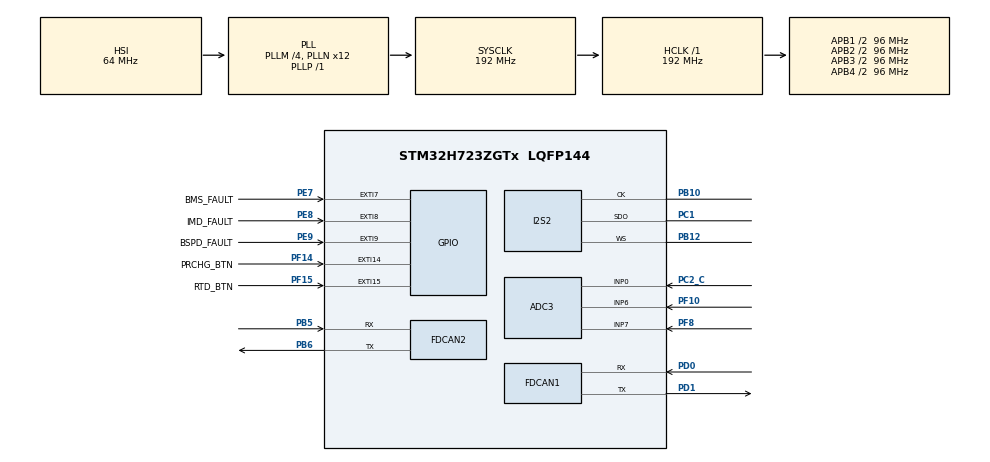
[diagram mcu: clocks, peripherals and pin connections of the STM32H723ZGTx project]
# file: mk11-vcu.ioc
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ADC3.Channel-0\#ChannelRegularConversion=ADC_CHANNEL_0
ADC3.Channel-1\#ChannelRegularConversion=ADC_CHANNEL_6
ADC3.Channel-2\#ChannelRegularConversion=ADC_CHANNEL_7
ADC3.ClockPrescaler=ADC_CLOCK_ASYNC_DIV128
ADC3.ClockPrescalerADC3=ADC_CLOCK_ASYNC_DIV128
ADC3.ContinuousConvMode=ENABLE
ADC3.ConversionDataManagement=ADC_CONVERSIONDATA_DMA_CIRCULAR
ADC3.DMAContinuousRequests=ENABLE
ADC3.EOCSelection=ADC_EOC_SEQ_CONV
ADC3.NbrOfConversion=3
ADC3.NbrOfConversionFlag=1
ADC3.OffsetNumber-0\#ChannelRegularConversion=ADC_OFFSET_NONE
ADC3.OffsetNumber-1\#ChannelRegularConversion=ADC_OFFSET_NONE
ADC3.OffsetNumber-2\#ChannelRegularConversion=ADC_OFFSET_NONE
ADC3.OffsetSign-0\#ChannelRegularConversion=ADC3_OFFSET_SIGN_NEGATIVE
ADC3.OffsetSign-1\#ChannelRegularConversion=ADC3_OFFSET_SIGN_NEGATIVE
ADC3.OffsetSign-2\#ChannelRegularConversion=ADC3_OFFSET_SIGN_NEGATIVE
ADC3.Rank-0\#ChannelRegularConversion=1
ADC3.Rank-1\#ChannelRegularConversion=2
ADC3.Rank-2\#ChannelRegularConversion=3
ADC3.SamplingTime-0\#ChannelRegularConversion=ADC3_SAMPLETIME_92CYCLES_5
ADC3.SamplingTime-1\#ChannelRegularConversion=ADC3_SAMPLETIME_92CYCLES_5
ADC3.SamplingTime-2\#ChannelRegularConversion=ADC3_SAMPLETIME_92CYCLES_5
CORTEX_M7.default_mode_Activation=1
Dma.ADC3.0.Direction=DMA_PERIPH_TO_MEMORY
Dma.ADC3.0.EventEnable=DISABLE
Dma.ADC3.0.FIFOMode=DMA_FIFOMODE_DISABLE
Dma.ADC3.0.Instance=DMA1_Stream0
Dma.ADC3.0.MemDataAlignment=DMA_MDATAALIGN_HALFWORD
Dma.ADC3.0.MemInc=DMA_MINC_ENABLE
Dma.ADC3.0.Mode=DMA_CIRCULAR
Dma.ADC3.0.PeriphDataAlignment=DMA_PDATAALIGN_HALFWORD
Dma.ADC3.0.PeriphInc=DMA_PINC_DISABLE
Dma.ADC3.0.Polarity=HAL_DMAMUX_REQ_GEN_RISING
Dma.ADC3.0.Priority=DMA_PRIORITY_LOW
Dma.ADC3.0.RequestNumber=1
Dma.ADC3.0.SignalID=NONE
Dma.ADC3.0.SyncEnable=DISABLE
Dma.ADC3.0.SyncPolarity=HAL_DMAMUX_SYNC_NO_EVENT
Dma.ADC3.0.SyncRequestNumber=1
Dma.ADC3.0.SyncSignalID=NONE
Dma.Request0=ADC3
Dma.Request1=SPI2_TX
Dma.SPI2_TX.1.Direction=DMA_MEMORY_TO_PERIPH
Dma.SPI2_TX.1.EventEnable=DISABLE
Dma.SPI2_TX.1.FIFOMode=DMA_FIFOMODE_ENABLE
Dma.SPI2_TX.1.FIFOThreshold=DMA_FIFO_THRESHOLD_HALFFULL
Dma.SPI2_TX.1.Instance=DMA1_Stream1
Dma.SPI2_TX.1.MemBurst=DMA_MBURST_SINGLE
Dma.SPI2_TX.1.MemDataAlignment=DMA_MDATAALIGN_HALFWORD
Dma.SPI2_TX.1.MemInc=DMA_MINC_ENABLE
Dma.SPI2_TX.1.Mode=DMA_NORMAL
Dma.SPI2_TX.1.PeriphBurst=DMA_PBURST_SINGLE
Dma.SPI2_TX.1.PeriphDataAlignment=DMA_PDATAALIGN_HALFWORD
Dma.SPI2_TX.1.PeriphInc=DMA_PINC_DISABLE
Dma.SPI2_TX.1.Polarity=HAL_DMAMUX_REQ_GEN_RISING
Dma.SPI2_TX.1.Priority=DMA_PRIORITY_HIGH
Dma.SPI2_TX.1.RequestNumber=1
Dma.SPI2_TX.1.SignalID=NONE
Dma.SPI2_TX.1.SyncEnable=DISABLE
Dma.SPI2_TX.1.SyncPolarity=HAL_DMAMUX_SYNC_NO_EVENT
Dma.SPI2_TX.1.SyncRequestNumber=1
Dma.SPI2_TX.1.SyncSignalID=NONE
FDCAN1.AutoRetransmission=ENABLE
FDCAN1.CalculateBaudRateNominal=500000
FDCAN1.CalculateTimeBitNominal=2000
FDCAN1.CalculateTimeQuantumNominal=125.0
FDCAN1.DataPrescaler=12
FDCAN1.DataTimeSeg1=13
FDCAN1.DataTimeSeg2=2
FDCAN1.FrameFormat=FDCAN_FRAME_CLASSIC
FDCAN1.MessageRAMOffset=0
FDCAN1.Mode=FDCAN_MODE_NORMAL
FDCAN1.NominalPrescaler=12
FDCAN1.NominalSyncJumpWidth=2
FDCAN1.NominalTimeSeg1=13
FDCAN1.NominalTimeSeg2=2
FDCAN1.RxBuffersNbr=3
FDCAN1.RxFifo0ElmtSize=FDCAN_DATA_BYTES_8
FDCAN1.RxFifo0ElmtsNbr=3
FDCAN1.RxFifo1ElmtsNbr=3
FDCAN1.StdFiltersNbr=1
FDCAN1.TxBuffersNbr=3
FDCAN1.TxElmtSize=FDCAN_DATA_BYTES_8
FDCAN1.TxEventsNbr=3
FDCAN1.TxFifoQueueElmtsNbr=3
FDCAN2.AutoRetransmission=ENABLE
FDCAN2.CalculateBaudRateNominal=500000
FDCAN2.CalculateTimeBitNominal=2000
FDCAN2.CalculateTimeQuantumNominal=125.0
FDCAN2.DataPrescaler=12
FDCAN2.DataTimeSeg1=13
FDCAN2.DataTimeSeg2=2
FDCAN2.FrameFormat=FDCAN_FRAME_CLASSIC
FDCAN2.MessageRAMOffset=1280
FDCAN2.Mode=FDCAN_MODE_NORMAL
FDCAN2.NominalPrescaler=12
FDCAN2.NominalSyncJumpWidth=2
FDCAN2.NominalTimeSeg1=13
FDCAN2.NominalTimeSeg2=2
FDCAN2.RxBuffersNbr=3
FDCAN2.RxFifo0ElmtsNbr=3
FDCAN2.RxFifo1ElmtSize=FDCAN_DATA_BYTES_8
FDCAN2.RxFifo1ElmtsNbr=3
FDCAN2.StdFiltersNbr=1
FDCAN2.TxBuffersNbr=3
FDCAN2.TxElmtSize=FDCAN_DATA_BYTES_8
FDCAN2.TxEventsNbr=3
FDCAN2.TxFifoQueueElmtsNbr=3
I2S2.AudioFreq=I2S_AUDIOFREQ_44K
I2S2.ErrorAudioFreq=0.26 %
I2S2.Instance=SPI$Index
I2S2.RealAudioFreq=44.117 KHz
I2S2.Standard=I2S_STANDARD_PHILIPS
Mcu.Family=STM32H7
Mcu.Name=STM32H723ZGTx
Mcu.Package=LQFP144
NVIC.ADC3_IRQn=true\:5\:0\:true\:false\:true\:true\:true\:true
NVIC.DMA1_Stream0_IRQn=true\:5\:0\:true\:false\:true\:false\:true\:true
NVIC.DMA1_Stream1_IRQn=true\:0\:0\:true\:false\:true\:false\:true\:true
NVIC.EXTI15_10_IRQn=true\:1\:0\:true\:false\:true\:true\:true\:true
NVIC.EXTI9_5_IRQn=true\:1\:0\:true\:false\:true\:true\:true\:true
NVIC.FDCAN1_IT0_IRQn=true\:2\:0\:true\:false\:true\:true\:true\:true
NVIC.FDCAN2_IT0_IRQn=true\:3\:0\:true\:false\:true\:true\:true\:true
NVIC.PriorityGroup=NVIC_PRIORITYGROUP_4
NVIC.TIM1_UP_IRQn=true\:1\:0\:true\:false\:true\:true\:true\:true
NVIC.TIM2_IRQn=true\:1\:0\:true\:false\:true\:true\:true\:true
NVIC.TIM3_IRQn=true\:1\:0\:true\:false\:true\:true\:true\:true
PB10.Mode=Half_Duplex_Master_Tx
PB10.Signal=I2S2_CK
PB12.Mode=Half_Duplex_Master_Tx
PB12.Signal=I2S2_WS
PB5.GPIO_PuPd=GPIO_PULLUP
PB5.Mode=FDCAN_Activate
PB5.Signal=FDCAN2_RX
PB6.Mode=FDCAN_Activate
PB6.Signal=FDCAN2_TX
PC1.Mode=Half_Duplex_Master_Tx
PC1.Signal=I2S2_SDO
PC2_C.Mode=IN0-Single-Ended
PC2_C.Signal=ADC3_INP0
PD0.GPIO_PuPd=GPIO_PULLUP
PD0.Mode=FDCAN_Activate
PD0.Signal=FDCAN1_RX
PD1.Mode=FDCAN_Activate
PD1.Signal=FDCAN1_TX
PE7.GPIO_Label=BMS_FAULT
PE7.GPIO_ModeDefaultEXTI=GPIO_MODE_IT_RISING_FALLING
PE7.Signal=GPXTI7
PE8.GPIO_Label=IMD_FAULT
PE8.GPIO_ModeDefaultEXTI=GPIO_MODE_IT_RISING
PE8.Signal=GPXTI8
PE9.GPIO_Label=BSPD_FAULT
PE9.GPIO_ModeDefaultEXTI=GPIO_MODE_IT_RISING_FALLING
PE9.Signal=GPXTI9
PF10.Mode=IN6-Single-Ended
PF10.Signal=ADC3_INP6
PF14.GPIO_Label=PRCHG_BTN
PF14.GPIO_ModeDefaultEXTI=GPIO_MODE_IT_RISING_FALLING
PF14.Signal=GPXTI14
PF15.GPIO_Label=RTD_BTN
PF15.GPIO_ModeDefaultEXTI=GPIO_MODE_IT_RISING_FALLING
PF15.Signal=GPXTI15
PF8.Mode=IN7-Single-Ended
PF8.Signal=ADC3_INP7
PH0-OSC_IN.Mode=HSE-External-Oscillator
PH0-OSC_IN.Signal=RCC_OSC_IN
PH1-OSC_OUT.Mode=HSE-External-Oscillator
PH1-OSC_OUT.Signal=RCC_OSC_OUT
ProjectManager.HeapSize=0x200
ProjectManager.StackSize=0x400
ProjectManager.TargetToolchain=STM32CubeIDE
RCC.ADCFreq_Value=96000000
RCC.APB1Freq_Value=96000000
RCC.APB2Freq_Value=96000000
RCC.APB3Freq_Value=96000000
RCC.APB4Freq_Value=96000000
RCC.CortexFreq_Value=192000000
RCC.D1PPRE=RCC_APB3_DIV2
RCC.D2PPRE1=RCC_APB1_DIV2
RCC.D2PPRE2=RCC_APB2_DIV2
RCC.D3PPRE=RCC_APB4_DIV2
RCC.DIVM1=4
RCC.DIVM2=4
RCC.DIVN1=12
RCC.DIVN2=12
RCC.DIVP1=1
RCC.HCLKFreq_Value=192000000
RCC.HSE_VALUE=16000000
RCC.PLL2FRACN=0
RCC.PLLFRACN=0
RCC.SYSCLKFreq_VALUE=192000000
RCC.SYSCLKSource=RCC_SYSCLKSOURCE_PLLCLK
RCC.USBFreq_Value=96000000
TIM1.Period=62499
TIM1.Prescaler=3071
TIM2.Period=191999999
TIM3.Period=65216
TIM3.Prescaler=17663
VP_MEMORYMAP_VS_MEMORYMAP.Mode=CurAppReg
VP_TIM1_VS_ClockSourceINT.Mode=Internal
VP_TIM2_VS_ClockSourceINT.Mode=Internal
VP_TIM3_VS_ClockSourceINT.Mode=Internal
board=custom

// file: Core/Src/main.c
/* USER CODE BEGIN Header */
/**
  ******************************************************************************
  * @file           : main.c
  * @brief          : Main program body
  ******************************************************************************
  * @attention
  *
  * Copyright (c) 2025 STMicroelectronics.
  * All rights reserved.
  *
  * This software is licensed under terms that can be found in the LICENSE file
  * in the root directory of this software component.
  * If no LICENSE file comes with this software, it is provided AS-IS.
  *
  ******************************************************************************
  */
/* USER CODE END Header */
#include "main.h"
#include "adc.h"
#include "dma.h"
#include "fdcan.h"
#include "i2s.h"
#include "tim.h"
#include "gpio.h"

/* USER CODE BEGIN Includes */
#include <stdio.h>
#include <stdbool.h>
#include "motor_control.h"
#include "audio.h"
#include "prchg.h"
#include "cooling.h"
#include "vcu_state.h"
/* USER CODE END Includes */

/* USER CODE BEGIN PM */

// RTD_SOUND_MODE == RTD_SOUND_NORMAL will attempt to play sound over I2S.
// RTD_SOUND_MODE == RTD_SOUND_OVERRIDE will assume successful speaker playback.
#define RTD_SOUND_NORMAL 0
#define RTD_SOUND_OVERRIDE 1
#define RTD_SOUND_MODE RTD_SOUND_NORMAL

#define INVERTER_LOCKOUT_TIME_MS 150
#define INVERTER_RATE_LIMIT_MS 10
/* USER CODE END PM */

/* USER CODE BEGIN PV */
volatile uint32_t fdcan1_debug_cb = 0;
volatile uint32_t fdcan2_debug_cb = 0;

volatile uint32_t fdcan_rx_count = 0;          /* Counter for received messages */
volatile uint32_t fdcan_tx_count = 0;          /* Counter for transmitted messages */
volatile uint32_t fdcan_rx_error_count = 0;    /* RX error counter */

volatile uint8_t rtd_debug;
volatile uint8_t prchg_debug;

volatile uint32_t inverter_lockout_start;
volatile uint32_t inverter_tx_rate_limiter;
/* USER CODE END PV */

void SystemClock_Config(void);
static void MPU_Config(void);

/* USER CODE BEGIN 0 */
void HAL_ADC_ConvCpltCallback(ADC_HandleTypeDef* hadc) {
	voltage_values[0] = (ADC_VAL[0]/4095.0)*3.3; // CHANNEL 0: APPS1 (0 - 1.65V)
	voltage_values[1] = (ADC_VAL[1]/4095.0)*3.3; // CHANNEL 6: APPS2 (0 - 2.24V)
	voltage_values[2] = (ADC_VAL[2]/4095.0)*3.3; // CHANNEL 7: BSE (0 - 2.24V)

	if (vcu_state != VCU_DRIVE) return;
	if (HAL_GetTick() - inverter_lockout_start < INVERTER_LOCKOUT_TIME_MS) return;

	pedal_percents[0] = ((float) ADC_VAL[0] - APPS1_ADC_MIN_VAL) / (APPS1_ADC_MAX_VAL - APPS1_ADC_MIN_VAL);
	pedal_percents[1] = ((float) ADC_VAL[1] - APPS2_ADC_MIN_VAL) / (APPS2_ADC_MAX_VAL - APPS2_ADC_MIN_VAL);
	pedal_percents[2] = ((float) ADC_VAL[2] - BSE_ADC_MIN_VAL) / (BSE_ADC_MAX_VAL - BSE_ADC_MIN_VAL);

	validateAPPS();
	checkAPPS_Plausibility();
	checkAPPS_BSE_Crosscheck();
	calculateTorqueRequest();

	if (HAL_FDCAN_GetTxFifoFreeLevel(&hfdcan1) > 0 &&
			HAL_GetTick() - inverter_tx_rate_limiter > INVERTER_RATE_LIMIT_MS) {
		sendTorqueRequest( (int)(getLimitedTorqueRequest()*10), 0, 1);
		inverter_tx_rate_limiter = HAL_GetTick();
	}
}

void HAL_GPIO_EXTI_Callback(uint16_t GPIO_Pin) {
	if (GPIO_Pin == PRCHG_BTN_Pin) {
		prchg_debug++;
		if (HAL_GPIO_ReadPin(PRCHG_BTN_GPIO_Port, PRCHG_BTN_Pin) == GPIO_PIN_SET) {
			prchg_button_pressed = true;
		    __HAL_TIM_SET_COUNTER(&htim1, 0);
		    HAL_TIM_Base_Start_IT(&htim1);
		} else {
			// Button Released!
			prchg_button_pressed = false;
		    HAL_TIM_Base_Stop_IT(&htim1);
		}
	}

	if (GPIO_Pin == RTD_BTN_Pin) {
		rtd_debug++;
		if (HAL_GPIO_ReadPin(RTD_BTN_GPIO_Port, RTD_BTN_Pin) == GPIO_PIN_SET) {
			rtd_button_pressed = true;
            __HAL_TIM_SET_COUNTER(&htim2, 0);
            HAL_TIM_Base_Start_IT(&htim2);
		} else {
			// Button Released!
			rtd_button_pressed = false;
            HAL_TIM_Base_Stop_IT(&htim2);
		}
	}
}

static bool sound_success;
void HAL_TIM_PeriodElapsedCallback(TIM_HandleTypeDef *htim) {
    if (htim->Instance == TIM1) {
    	if (prchg_button_pressed == true) {
    		HAL_TIM_Base_Stop_IT(&htim1);
    		if (vcu_state != VCU_IDLE) return;
    		sendPrechargeRequest();
    	}
    }

    if (htim->Instance == TIM2) {
    	if (rtd_button_pressed == true) {
    		HAL_TIM_Base_Stop_IT(&htim2);
    		if (vcu_state != VCU_PRECHARGED) return;

    		if (ADC_VAL[2] > BSE_ACTIVATED_ADC_THRESHOLD) {

    			// ATTEMPT TO ENTER DRIVE MODE!

    			// NOTE: Works without disabling/re-enabling CAN?
    			// Most likely due to interrupt priority.
    			// I2S DMA Priority > CAN RX Priority.

    			HAL_ADC_Stop_DMA(&hadc3); // Disable pedals!
    			HAL_NVIC_DisableIRQ(EXTI15_10_IRQn); // Disable buttons!
    			rtd_button_pressed = false; // Clamp button state
    			prchg_button_pressed = false; // Clamp button state

#if RTD_SOUND_MODE == RTD_SOUND_NORMAL
    			sound_success = playReadyToDriveSound();
#elif RTD_SOUND_MODE == RTD_SOUND_OVERRIDE
    			sound_success = true;
#endif

    			if (!sound_success) {
        			HAL_NVIC_EnableIRQ(EXTI15_10_IRQn); // Re-enable buttons
        			HAL_ADC_Start_DMA(&hadc3, (uint32_t*) ADC_VAL, 3); // Re-enable pedals
        			return;
    			}

    			// INVERTER LOCKOUT FRAMES NECESSARY FOR START!
    			for (uint8_t lockout_frames_sent = 0;
    					lockout_frames_sent < 5 && HAL_FDCAN_GetTxFifoFreeLevel(&hfdcan1) > 0;
    					++lockout_frames_sent) {
    				sendTorqueRequest(0, 0, 0);
    			}
    			inverter_lockout_start = HAL_GetTick();

    			vcu_state = VCU_DRIVE;
    			HAL_ADC_Start_DMA(&hadc3, (uint32_t*) ADC_VAL, 3);
    		}
    	}
    }

    if (htim->Instance == TIM3) {
    	HAL_TIM_Base_Stop_IT(&htim3);
    	checkPrechargeStatus();
    }
}

// FDCAN1 Callback
void HAL_FDCAN_RxFifo0Callback(FDCAN_HandleTypeDef *hfdcan, uint32_t RxFifo0ITs)
{
	fdcan1_debug_cb++;
	if (RxFifo0ITs & FDCAN_IT_RX_FIFO0_NEW_MESSAGE)
	{

		if (HAL_FDCAN_GetRxMessage(hfdcan, FDCAN_RX_FIFO0, &RxHeader1, RxData1) != HAL_OK)
		{
			fdcan_rx_error_count++;
			return;
		}

		fdcan_rx_count++;
		FDCAN1_Rx_Handler();
	}
}

// FDCAN2 Callback
void HAL_FDCAN_RxFifo1Callback(FDCAN_HandleTypeDef *hfdcan, uint32_t RxFifo1ITs)
{
	fdcan2_debug_cb++;
	if (RxFifo1ITs & FDCAN_IT_RX_FIFO1_NEW_MESSAGE)
	{

		if (HAL_FDCAN_GetRxMessage(hfdcan, FDCAN_RX_FIFO1, &RxHeader2, RxData2) != HAL_OK)
		{
			fdcan_rx_error_count++;
			return;
		}

		fdcan_rx_count++;
		FDCAN2_Rx_Handler();
	}
}

/* USER CODE END 0 */

int main(void)
{

  /* MPU Configuration--------------------------------------------------------*/
  MPU_Config();

  /* MCU Configuration--------------------------------------------------------*/

  /* Reset of all peripherals, Initializes the Flash interface and the Systick. */
  HAL_Init();

  /* Configure the system clock */
  SystemClock_Config();

  /* Initialize all configured peripherals */
  MX_GPIO_Init();
  MX_DMA_Init();
  MX_ADC3_Init();
  MX_FDCAN1_Init();
  MX_FDCAN2_Init();
  MX_TIM1_Init();
  MX_I2S2_Init();
  MX_TIM2_Init();
  MX_TIM3_Init();
  /* USER CODE BEGIN 2 */

  // FDCAN1 FILTER SETUP
  FDCAN_FilterTypeDef sFilterConfig_1 = {0};
  sFilterConfig_1.IdType = FDCAN_STANDARD_ID;
  sFilterConfig_1.FilterIndex = 0;
  sFilterConfig_1.FilterType = FDCAN_FILTER_RANGE;
  sFilterConfig_1.FilterConfig = FDCAN_FILTER_TO_RXFIFO0;
  sFilterConfig_1.FilterID1 = 0x000;
  sFilterConfig_1.FilterID2 = 0x7FF;
  sFilterConfig_1.RxBufferIndex = 0;
  if (HAL_FDCAN_ConfigFilter(&hfdcan1, &sFilterConfig_1) != HAL_OK)
  {
    /* Filter configuration Error */
    Error_Handler();
  }

  // FDCAN2 FILTER SETUP
  FDCAN_FilterTypeDef sFilterConfig_2 = {0};
  sFilterConfig_2.IdType = FDCAN_STANDARD_ID;
  sFilterConfig_2.FilterIndex = 0;
  sFilterConfig_2.FilterType = FDCAN_FILTER_RANGE;
  sFilterConfig_2.FilterConfig = FDCAN_FILTER_TO_RXFIFO1;
  sFilterConfig_2.FilterID1 = 0x000;
  sFilterConfig_2.FilterID2 = 0x7FF;
  sFilterConfig_2.RxBufferIndex = 0;
  if (HAL_FDCAN_ConfigFilter(&hfdcan2, &sFilterConfig_2) != HAL_OK)
  {
    /* Filter configuration Error */
    Error_Handler();
  }

  // Start FDCAN1
  if(HAL_FDCAN_Start(&hfdcan1) != HAL_OK) {
	  Error_Handler();
  }

  // Start FDCAN2
  if(HAL_FDCAN_Start(&hfdcan2)!= HAL_OK) {
	  Error_Handler();
  }

  // Activate the notification for new data in FIFO0 for FDCAN1
  if (HAL_FDCAN_ActivateNotification(&hfdcan1, FDCAN_IT_RX_FIFO0_NEW_MESSAGE, 0) != HAL_OK) {
	  /* Notification Error */
	  Error_Handler();
  }

  // Activate the notification for new data in FIFO1 for FDCAN2
  if (HAL_FDCAN_ActivateNotification(&hfdcan2, FDCAN_IT_RX_FIFO1_NEW_MESSAGE, 0) != HAL_OK)
  {
	  /* Notification Error */
	  Error_Handler();
  }

  configureInverterMessage();
  configureVCUDiagnosticsMessage();
  configureCoolingCmdMsg();

  HAL_ADCEx_Calibration_Start(&hadc3, ADC_CALIB_OFFSET, ADC_SINGLE_ENDED);
  HAL_ADC_Start_DMA(&hadc3, (uint32_t*) ADC_VAL, 3);

  // ISHAN CHITALE - BRUIN FORMULA RACING SOFTWARE LEAD, 2025-2026

  /* USER CODE END 2 */

  /* Infinite loop */
  /* USER CODE BEGIN WHILE */
  while (1) {
	  sendCoolingCmd();
	  sendVCUDiagnostics();
    /* USER CODE END WHILE */

  }
}

void SystemClock_Config(void)
{
  RCC_OscInitTypeDef RCC_OscInitStruct = {0};
  RCC_ClkInitTypeDef RCC_ClkInitStruct = {0};

  /** Supply configuration update enable
  */
  HAL_PWREx_ConfigSupply(PWR_LDO_SUPPLY);

  /** Configure the main internal regulator output voltage
  */
  __HAL_PWR_VOLTAGESCALING_CONFIG(PWR_REGULATOR_VOLTAGE_SCALE1);

  while(!__HAL_PWR_GET_FLAG(PWR_FLAG_VOSRDY)) {}

  /** Initializes the RCC Oscillators according to the specified parameters
  * in the RCC_OscInitTypeDef structure.
  */
  RCC_OscInitStruct.OscillatorType = RCC_OSCILLATORTYPE_HSI;
  RCC_OscInitStruct.HSIState = RCC_HSI_DIV1;
  RCC_OscInitStruct.HSICalibrationValue = 64;
  RCC_OscInitStruct.PLL.PLLState = RCC_PLL_ON;
  RCC_OscInitStruct.PLL.PLLSource = RCC_PLLSOURCE_HSI;
  RCC_OscInitStruct.PLL.PLLM = 4;
  RCC_OscInitStruct.PLL.PLLN = 12;
  RCC_OscInitStruct.PLL.PLLP = 1;
  RCC_OscInitStruct.PLL.PLLQ = 2;
  RCC_OscInitStruct.PLL.PLLR = 2;
  RCC_OscInitStruct.PLL.PLLRGE = RCC_PLL1VCIRANGE_3;
  RCC_OscInitStruct.PLL.PLLVCOSEL = RCC_PLL1VCOWIDE;
  RCC_OscInitStruct.PLL.PLLFRACN = 0;
  if (HAL_RCC_OscConfig(&RCC_OscInitStruct) != HAL_OK)
  {
    Error_Handler();
  }

  /** Initializes the CPU, AHB and APB buses clocks
  */
  RCC_ClkInitStruct.ClockType = RCC_CLOCKTYPE_HCLK|RCC_CLOCKTYPE_SYSCLK
                              |RCC_CLOCKTYPE_PCLK1|RCC_CLOCKTYPE_PCLK2
                              |RCC_CLOCKTYPE_D3PCLK1|RCC_CLOCKTYPE_D1PCLK1;
  RCC_ClkInitStruct.SYSCLKSource = RCC_SYSCLKSOURCE_PLLCLK;
  RCC_ClkInitStruct.SYSCLKDivider = RCC_SYSCLK_DIV1;
  RCC_ClkInitStruct.AHBCLKDivider = RCC_HCLK_DIV1;
  RCC_ClkInitStruct.APB3CLKDivider = RCC_APB3_DIV2;
  RCC_ClkInitStruct.APB1CLKDivider = RCC_APB1_DIV2;
  RCC_ClkInitStruct.APB2CLKDivider = RCC_APB2_DIV2;
  RCC_ClkInitStruct.APB4CLKDivider = RCC_APB4_DIV2;

  if (HAL_RCC_ClockConfig(&RCC_ClkInitStruct, FLASH_LATENCY_2) != HAL_OK)
  {
    Error_Handler();
  }
}

 /* MPU Configuration */

void MPU_Config(void)
{
  MPU_Region_InitTypeDef MPU_InitStruct = {0};

  /* Disables the MPU */
  HAL_MPU_Disable();

  /** Initializes and configures the Region and the memory to be protected
  */
  MPU_InitStruct.Enable = MPU_REGION_ENABLE;
  MPU_InitStruct.Number = MPU_REGION_NUMBER0;
  MPU_InitStruct.BaseAddress = 0x0;
  MPU_InitStruct.Size = MPU_REGION_SIZE_4GB;
  MPU_InitStruct.SubRegionDisable = 0x87;
  MPU_InitStruct.TypeExtField = MPU_TEX_LEVEL0;
  MPU_InitStruct.AccessPermission = MPU_REGION_NO_ACCESS;
  MPU_InitStruct.DisableExec = MPU_INSTRUCTION_ACCESS_DISABLE;
  MPU_InitStruct.IsShareable = MPU_ACCESS_SHAREABLE;
  MPU_InitStruct.IsCacheable = MPU_ACCESS_NOT_CACHEABLE;
  MPU_InitStruct.IsBufferable = MPU_ACCESS_NOT_BUFFERABLE;

  HAL_MPU_ConfigRegion(&MPU_InitStruct);
  /* Enables the MPU */
  HAL_MPU_Enable(MPU_PRIVILEGED_DEFAULT);

}

void Error_Handler(void)
{
  /* USER CODE BEGIN Error_Handler_Debug */
  /* User can add his own implementation to report the HAL error return state */
	for (uint8_t lockout_frames_sent = 0;
			lockout_frames_sent < 5 && HAL_FDCAN_GetTxFifoFreeLevel(&hfdcan1) > 0;
			++lockout_frames_sent) {
		sendTorqueRequest(0, 0, 0);
	}

  HAL_I2S_DMAStop(&hi2s2);
  HAL_ADC_Stop_DMA(&hadc3);
  __disable_irq();

  while (1)
  {
  }
  /* USER CODE END Error_Handler_Debug */
}
